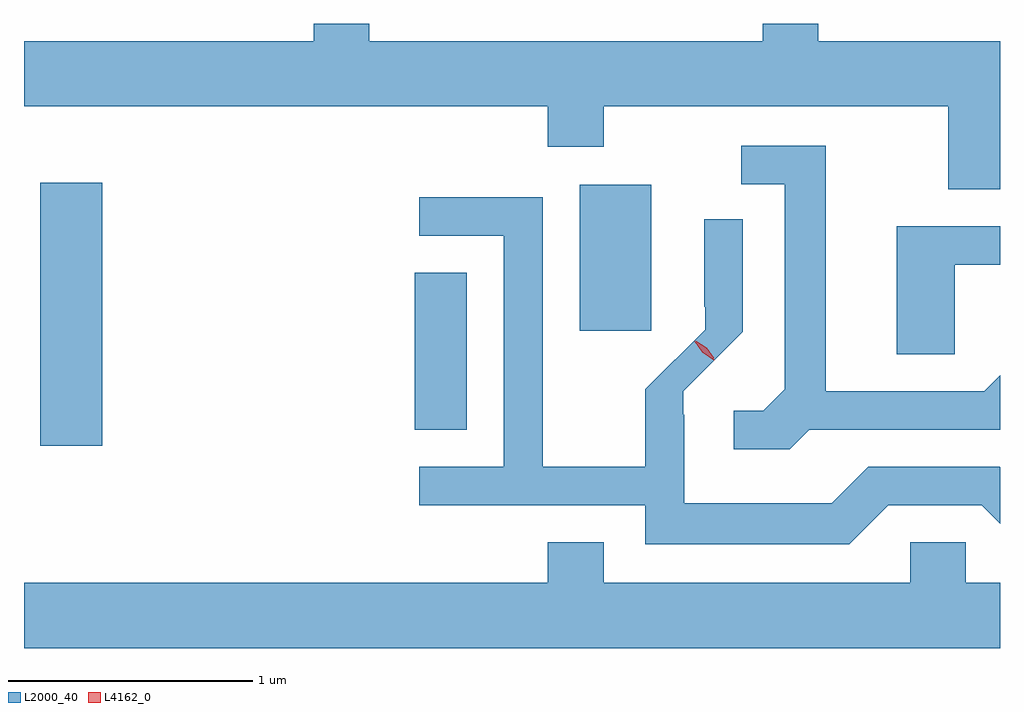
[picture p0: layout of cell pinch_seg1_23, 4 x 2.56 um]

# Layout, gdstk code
import gdstk
lib = gdstk.Library(unit=1e-6, precision=1e-09)
def R(c, l, rs):  # rectangles x0, y0, x1, y1
    for r in rs: c.add(gdstk.rectangle(r[:2], r[2:], *l))
def P(c, l, *ps):  # polygons
    for p in ps: c.add(gdstk.Polygon(p, *l))
L2000_40 = (2000, 40)
L4162_0 = (4162, 0)

pinch_seg1_23 = lib.new_cell('pinch_seg1_23')
R(pinch_seg1_23, L2000_40, [(1102.501,938.146,1102.754,939.224), (1104.036,938.211,1104.249,938.854), (1104.711,938.616,1105.004,939.214)])
P(pinch_seg1_23, L2000_40, [(1106.434,939.804),(1105.689,939.804),(1105.689,939.874),(1105.461,939.874),(1105.461,939.804),(1103.849,939.804),(1103.849,939.874),(1103.621,939.874),(1103.621,939.804),(1102.434,939.804),(1102.434,939.536),(1104.581,939.536),(1104.581,939.371),(1104.809,939.371),(1104.809,939.536),(1106.221,939.536),(1106.221,939.196),(1106.434,939.196)],
  [(1105.652,938.211),(1106.434,938.211),(1106.434,938.435),(1106.369,938.369),(1105.719,938.369),(1105.719,939.374),(1105.373,939.374),(1105.373,939.216),(1105.551,939.216),(1105.551,938.377),(1105.464,938.289),(1105.343,938.289),(1105.343,938.131),(1105.572,938.131)],
  [(1105.977,937.901),(1106.359,937.901),(1106.434,937.826),(1106.434,938.057),(1106.432,938.059),(1105.894,938.059),(1105.744,937.909),(1105.139,937.909),(1105.139,938.273),(1105.135,938.273),(1105.135,938.368),(1105.379,938.612),(1105.379,939.073),(1105.221,939.073),(1105.221,938.715),(1105.225,938.715),(1105.225,938.621),(1104.981,938.377),(1104.981,938.059),(1104.559,938.059),(1104.559,939.164),(1104.053,939.164),(1104.053,939.006),(1104.401,939.006),(1104.401,938.059),(1104.053,938.059),(1104.053,937.901),(1104.981,937.901),(1104.981,937.741),(1105.817,937.741)],
  [(1106.249,938.886),(1106.434,938.886),(1106.434,939.044),(1106.011,939.044),(1106.011,938.521),(1106.249,938.521)],
  [(1106.434,937.584),(1106.294,937.584),(1106.294,937.749),(1106.066,937.749),(1106.066,937.584),(1104.809,937.584),(1104.809,937.749),(1104.581,937.749),(1104.581,937.584),(1102.434,937.584),(1102.434,937.316),(1106.434,937.316)])
P(pinch_seg1_23, L4162_0, [(1105.261,938.496),(1105.214,938.529),(1105.18,938.575),(1105.18,938.575),(1105.181,938.575),(1105.228,938.543),(1105.262,938.497),(1105.262,938.496)],
  [(1105.262,938.503),(1105.217,938.532),(1105.187,938.575),(1105.187,938.576),(1105.187,938.576),(1105.232,938.547),(1105.262,938.504),(1105.262,938.503)])

lib.write_gds('pinch_seg1_23.gds')
